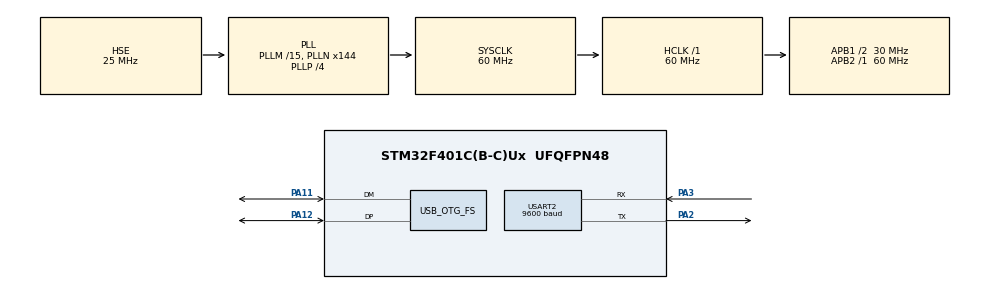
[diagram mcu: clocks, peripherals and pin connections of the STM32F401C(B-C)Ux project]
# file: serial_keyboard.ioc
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Mcu.Family=STM32F4
Mcu.Name=STM32F401C(B-C)Ux
Mcu.Package=UFQFPN48
NVIC.OTG_FS_IRQn=true\:0\:0\:false\:false\:true\:false\:true\:true
NVIC.PriorityGroup=NVIC_PRIORITYGROUP_4
PA11.Mode=Device_Only
PA11.Signal=USB_OTG_FS_DM
PA12.Mode=Device_Only
PA12.Signal=USB_OTG_FS_DP
PA13.Mode=Serial_Wire
PA13.Signal=SYS_JTMS-SWDIO
PA14.Mode=Serial_Wire
PA14.Signal=SYS_JTCK-SWCLK
PA2.Mode=Asynchronous
PA2.Signal=USART2_TX
PA3.Mode=Asynchronous
PA3.Signal=USART2_RX
PH0\ -\ OSC_IN.Mode=HSE-External-Oscillator
PH0\ -\ OSC_IN.Signal=RCC_OSC_IN
PH1\ -\ OSC_OUT.Mode=HSE-External-Oscillator
PH1\ -\ OSC_OUT.Signal=RCC_OSC_OUT
ProjectManager.HeapSize=0x200
ProjectManager.StackSize=0x400
ProjectManager.TargetToolchain=STM32CubeIDE
RCC.48MHZClocksFreq_Value=48000000
RCC.AHBFreq_Value=60000000
RCC.APB1CLKDivider=RCC_HCLK_DIV2
RCC.APB1Freq_Value=30000000
RCC.APB1TimFreq_Value=60000000
RCC.APB2Freq_Value=60000000
RCC.APB2TimFreq_Value=60000000
RCC.CortexFreq_Value=60000000
RCC.HCLKFreq_Value=60000000
RCC.HSE_VALUE=25000000
RCC.HSI_VALUE=16000000
RCC.LSE_VALUE=32768
RCC.PLLM=15
RCC.PLLN=144
RCC.PLLP=RCC_PLLP_DIV4
RCC.PLLQ=5
RCC.SYSCLKFreq_VALUE=60000000
RCC.SYSCLKSource=RCC_SYSCLKSOURCE_PLLCLK
RCC.VCOOutputFreq_Value=240000000
USART2.BaudRate=9600
USART2.VirtualMode=VM_ASYNC
USB_DEVICE.CLASS_NAME_FS=HID
USB_DEVICE.PRODUCT_STRING_HID_FS=STM32 Serial Keyboard
USB_DEVICE.VirtualMode=Hid
USB_DEVICE.VirtualModeFS=Hid_FS
USB_OTG_FS.VirtualMode=Device_Only
VP_USB_DEVICE_VS_USB_DEVICE_HID_FS.Mode=HID_FS
board=custom

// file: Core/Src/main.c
/* USER CODE BEGIN Header */
/**
  ******************************************************************************
  * @file           : main.c
  * @brief          : Main program body
  ******************************************************************************
  * @attention
  *
  * Copyright (c) 2023 STMicroelectronics.
  * All rights reserved.
  *
  * This software is licensed under terms that can be found in the LICENSE file
  * in the root directory of this software component.
  * If no LICENSE file comes with this software, it is provided AS-IS.
  *
  ******************************************************************************
  */
/* USER CODE END Header */
#include "main.h"
#include "usb_device.h"

/* USER CODE BEGIN Includes */
#include "usbd_hid.h"
/* USER CODE END Includes */

UART_HandleTypeDef huart2;

/* USER CODE BEGIN PV */
extern USBD_HandleTypeDef hUsbDeviceFS;
keyboardReportDes HIDKeyboardReport = {0, 0, 0, 0, 0, 0, 0, 0};
/* USER CODE END PV */

void SystemClock_Config(void);
static void MX_GPIO_Init(void);
static void MX_USART2_UART_Init(void);
/* USER CODE BEGIN PFP */
void type(uint8_t c);
/* USER CODE END PFP */

/* USER CODE BEGIN 0 */
void type(uint8_t c) {
	if (c >= 0x41 && c <= 0x5A) {
		// Letra maiúscula
		HIDKeyboardReport.modifier = 0x02; //SHIFT
		HIDKeyboardReport.keyCode1 = c - 0x3D;
		USBD_HID_SendReport(&hUsbDeviceFS, (uint8_t *)&HIDKeyboardReport, sizeof(HIDKeyboardReport));
		HAL_Delay(15);
		// Liberar teclas
		HIDKeyboardReport.modifier = 0x00;
		HIDKeyboardReport.keyCode1 = 0x00;
		USBD_HID_SendReport(&hUsbDeviceFS, (uint8_t *)&HIDKeyboardReport, sizeof(HIDKeyboardReport));
	} else if (c >= 0x61 && c <= 0x7A) {
		// Letra minúscula
		HIDKeyboardReport.keyCode1 = c - 0x5D;
		USBD_HID_SendReport(&hUsbDeviceFS, (uint8_t *)&HIDKeyboardReport, sizeof(HIDKeyboardReport));
		HAL_Delay(15);
		// Liberar tecla
		HIDKeyboardReport.keyCode1 = 0x00;
		USBD_HID_SendReport(&hUsbDeviceFS, (uint8_t *)&HIDKeyboardReport, sizeof(HIDKeyboardReport));
	} else if (c >= 0x31 && c <= 0x39) {
		// Dígito de 1 a 9
		HIDKeyboardReport.keyCode1 = c - 0x13;
		USBD_HID_SendReport(&hUsbDeviceFS, (uint8_t *)&HIDKeyboardReport, sizeof(HIDKeyboardReport));
		HAL_Delay(15);
		// Liberar tecla
		HIDKeyboardReport.keyCode1 = 0x00;
		USBD_HID_SendReport(&hUsbDeviceFS, (uint8_t *)&HIDKeyboardReport, sizeof(HIDKeyboardReport));
	} else if (c == 0x30) {
		// Dígito 0
		HIDKeyboardReport.keyCode1 = 0x27;
		USBD_HID_SendReport(&hUsbDeviceFS, (uint8_t *)&HIDKeyboardReport, sizeof(HIDKeyboardReport));
		HAL_Delay(15);
		// Liberar tecla
		HIDKeyboardReport.keyCode1 = 0x00;
		USBD_HID_SendReport(&hUsbDeviceFS, (uint8_t *)&HIDKeyboardReport, sizeof(HIDKeyboardReport));
	} else if (c == 0x20) {
		// Espaço
		HIDKeyboardReport.keyCode1 = 0x2C;
		USBD_HID_SendReport(&hUsbDeviceFS, (uint8_t *)&HIDKeyboardReport, sizeof(HIDKeyboardReport));
		HAL_Delay(15);
		// Liberar tecla
		HIDKeyboardReport.keyCode1 = 0x00;
		USBD_HID_SendReport(&hUsbDeviceFS, (uint8_t *)&HIDKeyboardReport, sizeof(HIDKeyboardReport));
	} else if (c == 0x0D) {
		// ENTER
		HIDKeyboardReport.keyCode1 = 0x28;
		USBD_HID_SendReport(&hUsbDeviceFS, (uint8_t *)&HIDKeyboardReport, sizeof(HIDKeyboardReport));
		HAL_Delay(15);
		// Liberar tecla
		HIDKeyboardReport.keyCode1 = 0x00;
		USBD_HID_SendReport(&hUsbDeviceFS, (uint8_t *)&HIDKeyboardReport, sizeof(HIDKeyboardReport));
	} else if (c == 0x1B) {
		// ESC
		HIDKeyboardReport.keyCode1 = 0x29;
		USBD_HID_SendReport(&hUsbDeviceFS, (uint8_t *)&HIDKeyboardReport, sizeof(HIDKeyboardReport));
		HAL_Delay(15);
		// Liberar tecla
		HIDKeyboardReport.keyCode1 = 0x00;
		USBD_HID_SendReport(&hUsbDeviceFS, (uint8_t *)&HIDKeyboardReport, sizeof(HIDKeyboardReport));
	} else if (c == 0x09) {
		// TAB
		HIDKeyboardReport.keyCode1 = 0x2B;
		USBD_HID_SendReport(&hUsbDeviceFS, (uint8_t *)&HIDKeyboardReport, sizeof(HIDKeyboardReport));
		HAL_Delay(15);
		// Liberar tecla
		HIDKeyboardReport.keyCode1 = 0x00;
		USBD_HID_SendReport(&hUsbDeviceFS, (uint8_t *)&HIDKeyboardReport, sizeof(HIDKeyboardReport));
	} else if (c == 0x7F) {
		// BACKSPACE
		HIDKeyboardReport.keyCode1 = 0x2A;
		USBD_HID_SendReport(&hUsbDeviceFS, (uint8_t *)&HIDKeyboardReport, sizeof(HIDKeyboardReport));
		HAL_Delay(15);
		// Liberar tecla
		HIDKeyboardReport.keyCode1 = 0x00;
		USBD_HID_SendReport(&hUsbDeviceFS, (uint8_t *)&HIDKeyboardReport, sizeof(HIDKeyboardReport));
	} else if (c == 0x2D) {
		// -
		HIDKeyboardReport.keyCode1 = 0x2D;
		USBD_HID_SendReport(&hUsbDeviceFS, (uint8_t *)&HIDKeyboardReport, sizeof(HIDKeyboardReport));
		HAL_Delay(15);
		// Liberar tecla
		HIDKeyboardReport.keyCode1 = 0x00;
		USBD_HID_SendReport(&hUsbDeviceFS, (uint8_t *)&HIDKeyboardReport, sizeof(HIDKeyboardReport));
	} else if (c == 0x2E) {
		// .
		HIDKeyboardReport.keyCode1 = 0x37;
		USBD_HID_SendReport(&hUsbDeviceFS, (uint8_t *)&HIDKeyboardReport, sizeof(HIDKeyboardReport));
		HAL_Delay(15);
		// Liberar tecla
		HIDKeyboardReport.keyCode1 = 0x00;
		USBD_HID_SendReport(&hUsbDeviceFS, (uint8_t *)&HIDKeyboardReport, sizeof(HIDKeyboardReport));
	} else if (c == 0x2F) {
		// Barra
		HIDKeyboardReport.keyCode1 = 0x38;
		USBD_HID_SendReport(&hUsbDeviceFS, (uint8_t *)&HIDKeyboardReport, sizeof(HIDKeyboardReport));
		HAL_Delay(15);
		// Liberar tecla
		HIDKeyboardReport.keyCode1 = 0x00;
		USBD_HID_SendReport(&hUsbDeviceFS, (uint8_t *)&HIDKeyboardReport, sizeof(HIDKeyboardReport));
	} else if (c == 0x5C) {
		// Barra invertida
		HIDKeyboardReport.keyCode1 = 0x31;
		USBD_HID_SendReport(&hUsbDeviceFS, (uint8_t *)&HIDKeyboardReport, sizeof(HIDKeyboardReport));
		HAL_Delay(15);
		// Liberar tecla
		HIDKeyboardReport.keyCode1 = 0x00;
		USBD_HID_SendReport(&hUsbDeviceFS, (uint8_t *)&HIDKeyboardReport, sizeof(HIDKeyboardReport));
	} else if (c == 0x3D) {
		// =
		HIDKeyboardReport.keyCode1 = 0x2E;
		USBD_HID_SendReport(&hUsbDeviceFS, (uint8_t *)&HIDKeyboardReport, sizeof(HIDKeyboardReport));
		HAL_Delay(15);
		// Liberar tecla
		HIDKeyboardReport.keyCode1 = 0x00;
		USBD_HID_SendReport(&hUsbDeviceFS, (uint8_t *)&HIDKeyboardReport, sizeof(HIDKeyboardReport));
	} else if (c == 0x27) {
		// Aspa simples
		HIDKeyboardReport.keyCode1 = 0x34;
		USBD_HID_SendReport(&hUsbDeviceFS, (uint8_t *)&HIDKeyboardReport, sizeof(HIDKeyboardReport));
		HAL_Delay(15);
		// Liberar tecla
		HIDKeyboardReport.keyCode1 = 0x00;
		USBD_HID_SendReport(&hUsbDeviceFS, (uint8_t *)&HIDKeyboardReport, sizeof(HIDKeyboardReport));
	} else if (c == 0x5F) {
		// _
		HIDKeyboardReport.modifier = 0x02; //SHIFT
		HIDKeyboardReport.keyCode1 = 0x2D;
		USBD_HID_SendReport(&hUsbDeviceFS, (uint8_t *)&HIDKeyboardReport, sizeof(HIDKeyboardReport));
		HAL_Delay(15);
		// Liberar teclas
		HIDKeyboardReport.modifier = 0x00;
		HIDKeyboardReport.keyCode1 = 0x00;
		USBD_HID_SendReport(&hUsbDeviceFS, (uint8_t *)&HIDKeyboardReport, sizeof(HIDKeyboardReport));
	} else if (c == 0x7E) {
		// ~
		HIDKeyboardReport.modifier = 0x02; //SHIFT
		HIDKeyboardReport.keyCode1 = 0x35;
		USBD_HID_SendReport(&hUsbDeviceFS, (uint8_t *)&HIDKeyboardReport, sizeof(HIDKeyboardReport));
		HAL_Delay(15);
		// Liberar teclas
		HIDKeyboardReport.modifier = 0x00;
		HIDKeyboardReport.keyCode1 = 0x00;
		USBD_HID_SendReport(&hUsbDeviceFS, (uint8_t *)&HIDKeyboardReport, sizeof(HIDKeyboardReport));
	} else if (c == 0x3C) {
		// <
		HIDKeyboardReport.modifier = 0x02; //SHIFT
		HIDKeyboardReport.keyCode1 = 0x36;
		USBD_HID_SendReport(&hUsbDeviceFS, (uint8_t *)&HIDKeyboardReport, sizeof(HIDKeyboardReport));
		HAL_Delay(15);
		// Liberar teclas
		HIDKeyboardReport.modifier = 0x00;
		HIDKeyboardReport.keyCode1 = 0x00;
		USBD_HID_SendReport(&hUsbDeviceFS, (uint8_t *)&HIDKeyboardReport, sizeof(HIDKeyboardReport));
	} else if (c == 0x3E) {
		// >
		HIDKeyboardReport.modifier = 0x02; //SHIFT
		HIDKeyboardReport.keyCode1 = 0x37;
		USBD_HID_SendReport(&hUsbDeviceFS, (uint8_t *)&HIDKeyboardReport, sizeof(HIDKeyboardReport));
		HAL_Delay(15);
		// Liberar teclas
		HIDKeyboardReport.modifier = 0x00;
		HIDKeyboardReport.keyCode1 = 0x00;
		USBD_HID_SendReport(&hUsbDeviceFS, (uint8_t *)&HIDKeyboardReport, sizeof(HIDKeyboardReport));
	} else if (c == 0x2A) {
		// Asterisco
		HIDKeyboardReport.modifier = 0x02; //SHIFT
		HIDKeyboardReport.keyCode1 = 0x25;
		USBD_HID_SendReport(&hUsbDeviceFS, (uint8_t *)&HIDKeyboardReport, sizeof(HIDKeyboardReport));
		HAL_Delay(15);
		// Liberar teclas
		HIDKeyboardReport.modifier = 0x00;
		HIDKeyboardReport.keyCode1 = 0x00;
		USBD_HID_SendReport(&hUsbDeviceFS, (uint8_t *)&HIDKeyboardReport, sizeof(HIDKeyboardReport));
	} else if (c == 0x22) {
		// Aspas duplas
		HIDKeyboardReport.modifier = 0x02; //SHIFT
		HIDKeyboardReport.keyCode1 = 0x34;
		USBD_HID_SendReport(&hUsbDeviceFS, (uint8_t *)&HIDKeyboardReport, sizeof(HIDKeyboardReport));
		HAL_Delay(15);
		// Liberar teclas
		HIDKeyboardReport.modifier = 0x00;
		HIDKeyboardReport.keyCode1 = 0x00;
		USBD_HID_SendReport(&hUsbDeviceFS, (uint8_t *)&HIDKeyboardReport, sizeof(HIDKeyboardReport));
	}
}
/* USER CODE END 0 */

int main(void)
{

  /* MCU Configuration--------------------------------------------------------*/

  /* Reset of all peripherals, Initializes the Flash interface and the Systick. */
  HAL_Init();

  /* Configure the system clock */
  SystemClock_Config();

  /* Initialize all configured peripherals */
  MX_GPIO_Init();
  MX_USB_DEVICE_Init();
  MX_USART2_UART_Init();

  /* Infinite loop */
  while (1)
  {

    /* USER CODE BEGIN 3 */
	  uint8_t c = 0x00;
	  HAL_UART_Receive(&huart2, &c, 1, 5000); //Bloqueia até receber um caracter
	  if (c) {
		  uint8_t buffer[100];
		  snprintf((char *)buffer, 100, "Rx 0x%02X\n", c);
		  HAL_UART_Transmit(&huart2, buffer, strlen((char *)buffer), 10);
		  type(c);
	  }
  }
  /* USER CODE END 3 */
}

void SystemClock_Config(void)
{
  RCC_OscInitTypeDef RCC_OscInitStruct = {0};
  RCC_ClkInitTypeDef RCC_ClkInitStruct = {0};

  /** Configure the main internal regulator output voltage
  */
  __HAL_RCC_PWR_CLK_ENABLE();
  __HAL_PWR_VOLTAGESCALING_CONFIG(PWR_REGULATOR_VOLTAGE_SCALE2);

  /** Initializes the RCC Oscillators according to the specified parameters
  * in the RCC_OscInitTypeDef structure.
  */
  RCC_OscInitStruct.OscillatorType = RCC_OSCILLATORTYPE_HSE;
  RCC_OscInitStruct.HSEState = RCC_HSE_ON;
  RCC_OscInitStruct.PLL.PLLState = RCC_PLL_ON;
  RCC_OscInitStruct.PLL.PLLSource = RCC_PLLSOURCE_HSE;
  RCC_OscInitStruct.PLL.PLLM = 15;
  RCC_OscInitStruct.PLL.PLLN = 144;
  RCC_OscInitStruct.PLL.PLLP = RCC_PLLP_DIV4;
  RCC_OscInitStruct.PLL.PLLQ = 5;
  if (HAL_RCC_OscConfig(&RCC_OscInitStruct) != HAL_OK)
  {
    Error_Handler();
  }

  /** Initializes the CPU, AHB and APB buses clocks
  */
  RCC_ClkInitStruct.ClockType = RCC_CLOCKTYPE_HCLK|RCC_CLOCKTYPE_SYSCLK
                              |RCC_CLOCKTYPE_PCLK1|RCC_CLOCKTYPE_PCLK2;
  RCC_ClkInitStruct.SYSCLKSource = RCC_SYSCLKSOURCE_PLLCLK;
  RCC_ClkInitStruct.AHBCLKDivider = RCC_SYSCLK_DIV1;
  RCC_ClkInitStruct.APB1CLKDivider = RCC_HCLK_DIV2;
  RCC_ClkInitStruct.APB2CLKDivider = RCC_HCLK_DIV1;

  if (HAL_RCC_ClockConfig(&RCC_ClkInitStruct, FLASH_LATENCY_1) != HAL_OK)
  {
    Error_Handler();
  }
}

static void MX_USART2_UART_Init(void)
{

  huart2.Instance = USART2;
  huart2.Init.BaudRate = 9600;
  huart2.Init.WordLength = UART_WORDLENGTH_8B;
  huart2.Init.StopBits = UART_STOPBITS_1;
  huart2.Init.Parity = UART_PARITY_NONE;
  huart2.Init.Mode = UART_MODE_TX_RX;
  huart2.Init.HwFlowCtl = UART_HWCONTROL_NONE;
  huart2.Init.OverSampling = UART_OVERSAMPLING_16;
  if (HAL_UART_Init(&huart2) != HAL_OK)
  {
    Error_Handler();
  }

}

static void MX_GPIO_Init(void)
{

  /* GPIO Ports Clock Enable */
  __HAL_RCC_GPIOH_CLK_ENABLE();
  __HAL_RCC_GPIOA_CLK_ENABLE();

}

void Error_Handler(void)
{
  __disable_irq();
  while (1)
  {
  }
}
